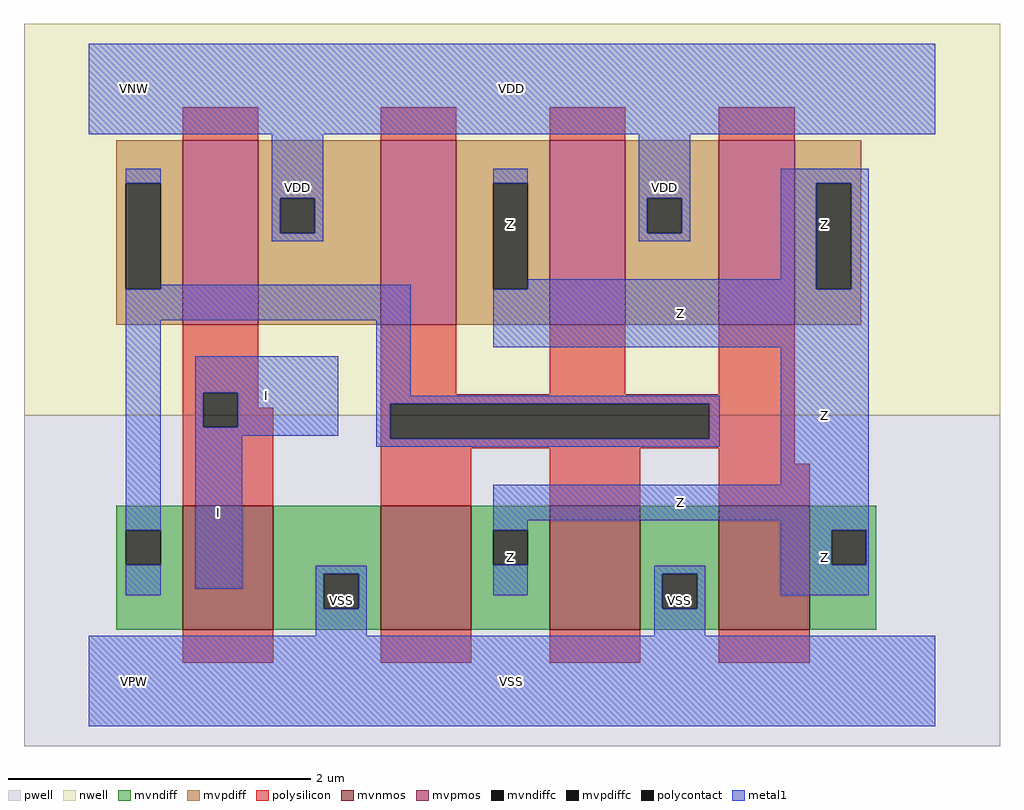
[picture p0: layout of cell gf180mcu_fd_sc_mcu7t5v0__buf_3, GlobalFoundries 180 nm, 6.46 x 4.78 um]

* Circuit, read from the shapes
.subckt gf180mcu_fd_sc_mcu7t5v0__buf_3 I Z VDD VNW VPW VSS
XM1 VSS I n1 VPW nfet_06v0 w=0.82u l=0.6u
XM2 Z n1 VSS VPW nfet_06v0 w=0.82u l=0.6u m=3
XM3 VDD I n1 VNW pfet_06v0 w=1.22u l=0.5u
XM4 Z n1 VDD VNW pfet_06v0 w=1.22u l=0.5u m=3
.ends

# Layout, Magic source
magic
tech gf180mcuD
magscale 1 10
<< nwell >>
rect -86 352 1206 870
<< pwell >>
rect -86 -86 1206 352
<< mvnmos >>
rect 124 68 244 232
rect 386 68 506 232
rect 610 68 730 232
rect 834 68 954 232
<< mvpmos >>
rect 124 472 224 716
rect 386 472 486 716
rect 610 472 710 716
rect 834 472 934 716
<< mvndiff >>
rect 36 200 124 232
rect 36 154 49 200
rect 95 154 124 200
rect 36 68 124 154
rect 244 142 386 232
rect 244 96 311 142
rect 357 96 386 142
rect 244 68 386 96
rect 506 200 610 232
rect 506 154 535 200
rect 581 154 610 200
rect 506 68 610 154
rect 730 142 834 232
rect 730 96 759 142
rect 805 96 834 142
rect 730 68 834 96
rect 954 200 1042 232
rect 954 154 983 200
rect 1029 154 1042 200
rect 954 68 1042 154
<< mvpdiff >>
rect 36 659 124 716
rect 36 519 49 659
rect 95 519 124 659
rect 36 472 124 519
rect 224 639 386 716
rect 224 593 253 639
rect 299 593 386 639
rect 224 472 386 593
rect 486 659 610 716
rect 486 519 535 659
rect 581 519 610 659
rect 486 472 610 519
rect 710 639 834 716
rect 710 593 739 639
rect 785 593 834 639
rect 710 472 834 593
rect 934 659 1022 716
rect 934 519 963 659
rect 1009 519 1022 659
rect 934 472 1022 519
<< mvndiffc >>
rect 49 154 95 200
rect 311 96 357 142
rect 535 154 581 200
rect 759 96 805 142
rect 983 154 1029 200
<< mvpdiffc >>
rect 49 519 95 659
rect 253 593 299 639
rect 535 519 581 659
rect 739 593 785 639
rect 963 519 1009 659
<< polysilicon >>
rect 124 716 224 760
rect 386 716 486 760
rect 610 716 710 760
rect 834 716 934 760
rect 124 382 224 472
rect 124 336 151 382
rect 197 362 224 382
rect 386 380 486 472
rect 610 380 710 472
rect 834 380 934 472
rect 386 367 934 380
rect 197 336 244 362
rect 124 232 244 336
rect 386 321 399 367
rect 821 321 934 367
rect 386 308 934 321
rect 386 232 506 308
rect 610 232 730 308
rect 834 288 934 308
rect 834 232 954 288
rect 124 24 244 68
rect 386 24 506 68
rect 610 24 730 68
rect 834 24 954 68
<< polycontact >>
rect 151 336 197 382
rect 399 321 821 367
<< metal1 >>
rect 0 724 1120 844
rect 49 659 95 678
rect 242 639 310 724
rect 242 593 253 639
rect 299 593 310 639
rect 242 582 310 593
rect 535 659 581 678
rect 95 519 426 525
rect 49 478 426 519
rect 49 200 95 478
rect 49 114 95 154
rect 141 382 330 430
rect 141 336 151 382
rect 197 336 330 382
rect 141 325 330 336
rect 380 378 426 478
rect 728 639 796 724
rect 728 593 739 639
rect 785 593 796 639
rect 728 582 796 593
rect 916 659 1032 678
rect 916 532 963 659
rect 581 519 963 532
rect 1009 519 1032 659
rect 535 442 1032 519
rect 380 367 835 378
rect 141 122 203 325
rect 380 321 399 367
rect 821 321 835 367
rect 380 310 835 321
rect 916 260 1032 442
rect 535 213 1032 260
rect 535 200 581 213
rect 300 142 368 153
rect 300 96 311 142
rect 357 96 368 142
rect 535 114 581 154
rect 916 200 1032 213
rect 916 154 983 200
rect 1029 154 1032 200
rect 748 142 816 153
rect 300 60 368 96
rect 748 96 759 142
rect 805 96 816 142
rect 916 114 1032 154
rect 748 60 816 96
rect 0 -60 1120 60
<< labels >>
flabel metal1 s 748 60 816 153 0 FreeSans 400 0 0 0 VSS
port 6 nsew ground bidirectional abutment
flabel metal1 s 916 532 1032 678 0 FreeSans 400 0 0 0 Z
port 2 nsew default output
flabel metal1 s 141 325 330 430 0 FreeSans 400 0 0 0 I
port 1 nsew default input
flabel metal1 s 0 724 1120 844 0 FreeSans 400 0 0 0 VDD
port 3 nsew power bidirectional abutment
flabel nwell s 10 734 110 834 0 FreeSans 400 0 0 0 VNW
port 4 nsew power bidirectional
flabel pwell s 10 -50 110 50 0 FreeSans 400 0 0 0 VPW
port 5 nsew ground bidirectional
rlabel metal1 s 141 122 203 325 1 I
port 1 nsew default input
rlabel metal1 s 535 532 581 678 1 Z
port 2 nsew default output
rlabel metal1 s 535 442 1032 532 1 Z
port 2 nsew default output
rlabel metal1 s 916 260 1032 442 1 Z
port 2 nsew default output
rlabel metal1 s 535 213 1032 260 1 Z
port 2 nsew default output
rlabel metal1 s 916 114 1032 213 1 Z
port 2 nsew default output
rlabel metal1 s 535 114 581 213 1 Z
port 2 nsew default output
rlabel metal1 s 728 582 796 724 1 VDD
port 3 nsew power bidirectional abutment
rlabel metal1 s 242 582 310 724 1 VDD
port 3 nsew power bidirectional abutment
rlabel metal1 s 300 60 368 153 1 VSS
port 6 nsew ground bidirectional abutment
rlabel metal1 s 0 -60 1120 60 1 VSS
port 6 nsew ground bidirectional abutment
<< properties >>
string FIXED_BBOX 0 0 1120 784
string GDS_END 1339680
string GDS_FILE $PDKPATH/libs.ref/gf180mcu_fd_sc_mcu7t5v0/gds/gf180mcu_fd_sc_mcu7t5v0.gds
string GDS_START 1336268
string LEFclass core
string LEFsite GF018hv5v_mcu_sc7
string LEFsymmetry X Y
<< end >>
